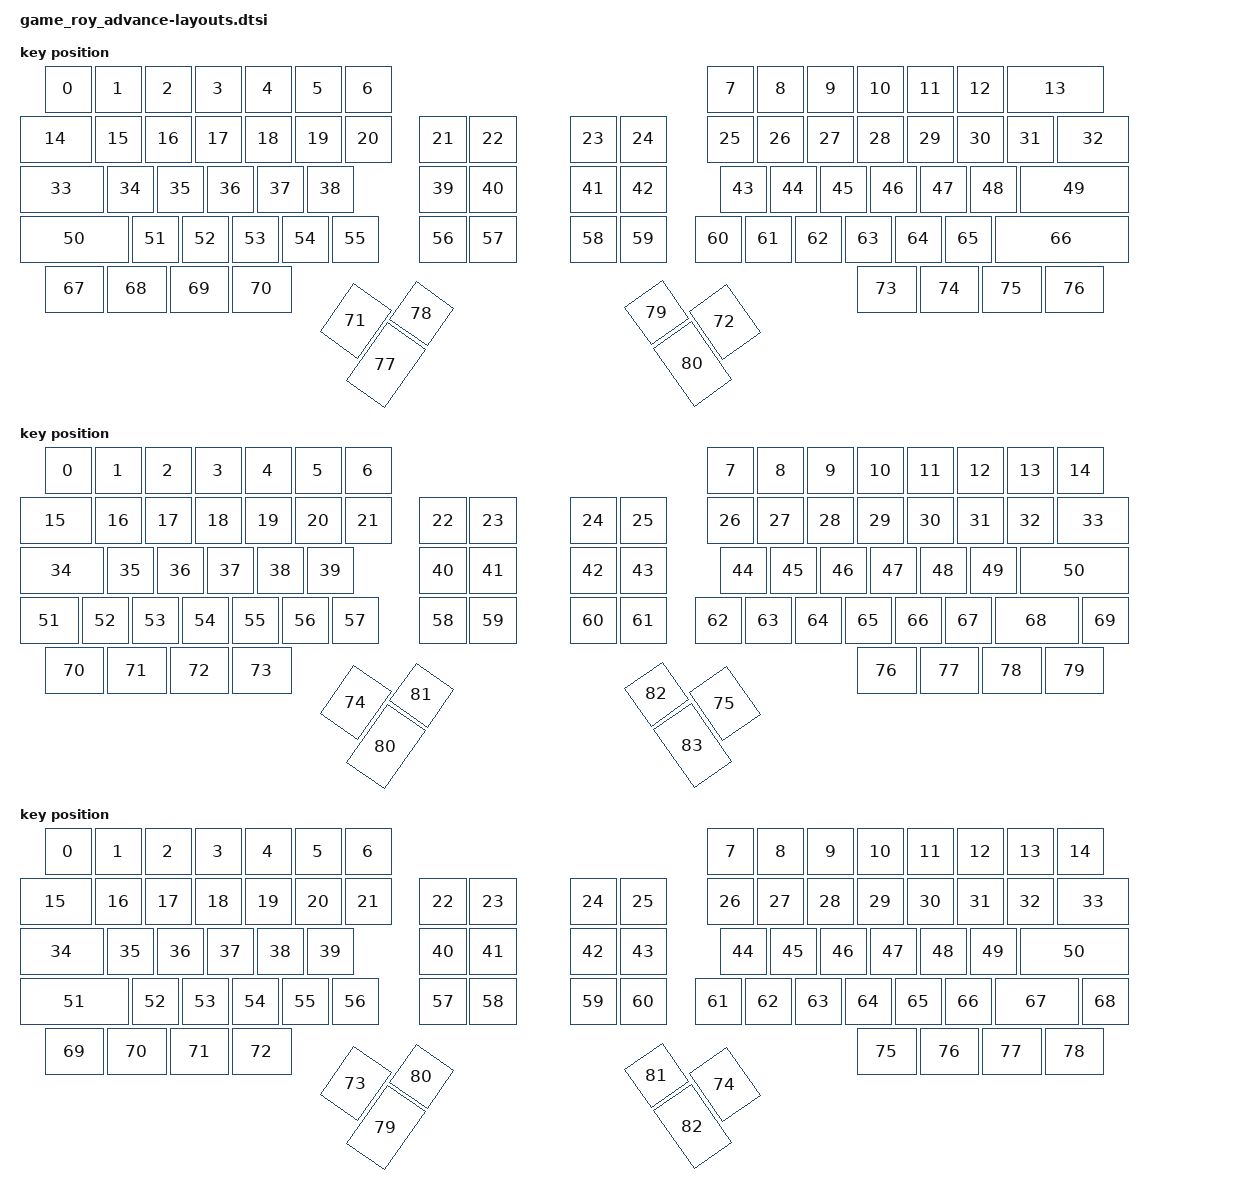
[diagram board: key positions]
#include <physical_layouts.dtsi>

/ {
    chosen {
        zmk,physical-layout = &default_layout;
    };

    default_layout: keymap_layout_0 {
        compatible = "zmk,physical-layout";
        display-name = "Game Roy ADVANCE Default";
        transform = <&default_transform>;
        kscan = <&kscan0>;
        keys  //                     w   h    x    y     rot    rx    ry
            = <&key_physical_attrs 100 100   50    0       0     0     0>
            , <&key_physical_attrs 100 100  150    0       0     0     0>
            , <&key_physical_attrs 100 100  250    0       0     0     0>
            , <&key_physical_attrs 100 100  350    0       0     0     0>
            , <&key_physical_attrs 100 100  450    0       0     0     0>
            , <&key_physical_attrs 100 100  550    0       0     0     0>
            , <&key_physical_attrs 100 100  650    0       0     0     0>
            , <&key_physical_attrs 100 100 1375    0       0     0     0>
            , <&key_physical_attrs 100 100 1475    0       0     0     0>
            , <&key_physical_attrs 100 100 1575    0       0     0     0>
            , <&key_physical_attrs 100 100 1675    0       0     0     0>
            , <&key_physical_attrs 100 100 1775    0       0     0     0>
            , <&key_physical_attrs 100 100 1875    0       0     0     0>
            , <&key_physical_attrs 200 100 1975    0       0     0     0>
            , <&key_physical_attrs 150 100    0  100       0     0     0>
            , <&key_physical_attrs 100 100  150  100       0     0     0>
            , <&key_physical_attrs 100 100  250  100       0     0     0>
            , <&key_physical_attrs 100 100  350  100       0     0     0>
            , <&key_physical_attrs 100 100  450  100       0     0     0>
            , <&key_physical_attrs 100 100  550  100       0     0     0>
            , <&key_physical_attrs 100 100  650  100       0     0     0>
            , <&key_physical_attrs 100 100  800  100       0     0     0>
            , <&key_physical_attrs 100 100  900  100       0     0     0>
            , <&key_physical_attrs 100 100 1100  100       0     0     0>
            , <&key_physical_attrs 100 100 1200  100       0     0     0>
            , <&key_physical_attrs 100 100 1375  100       0     0     0>
            , <&key_physical_attrs 100 100 1475  100       0     0     0>
            , <&key_physical_attrs 100 100 1575  100       0     0     0>
            , <&key_physical_attrs 100 100 1675  100       0     0     0>
            , <&key_physical_attrs 100 100 1775  100       0     0     0>
            , <&key_physical_attrs 100 100 1875  100       0     0     0>
            , <&key_physical_attrs 100 100 1975  100       0     0     0>
            , <&key_physical_attrs 150 100 2075  100       0     0     0>
            , <&key_physical_attrs 175 100    0  200       0     0     0>
            , <&key_physical_attrs 100 100  175  200       0     0     0>
            , <&key_physical_attrs 100 100  275  200       0     0     0>
            , <&key_physical_attrs 100 100  375  200       0     0     0>
            , <&key_physical_attrs 100 100  475  200       0     0     0>
            , <&key_physical_attrs 100 100  575  200       0     0     0>
            , <&key_physical_attrs 100 100  800  200       0     0     0>
            , <&key_physical_attrs 100 100  900  200       0     0     0>
            , <&key_physical_attrs 100 100 1100  200       0     0     0>
            , <&key_physical_attrs 100 100 1200  200       0     0     0>
            , <&key_physical_attrs 100 100 1400  200       0     0     0>
            , <&key_physical_attrs 100 100 1500  200       0     0     0>
            , <&key_physical_attrs 100 100 1600  200       0     0     0>
            , <&key_physical_attrs 100 100 1700  200       0     0     0>
            , <&key_physical_attrs 100 100 1800  200       0     0     0>
            , <&key_physical_attrs 100 100 1900  200       0     0     0>
            , <&key_physical_attrs 225 100 2000  200       0     0     0>
            , <&key_physical_attrs 225 100    0  300       0     0     0>
            , <&key_physical_attrs 100 100  225  300       0     0     0>
            , <&key_physical_attrs 100 100  325  300       0     0     0>
            , <&key_physical_attrs 100 100  425  300       0     0     0>
            , <&key_physical_attrs 100 100  525  300       0     0     0>
            , <&key_physical_attrs 100 100  625  300       0     0     0>
            , <&key_physical_attrs 100 100  800  300       0     0     0>
            , <&key_physical_attrs 100 100  900  300       0     0     0>
            , <&key_physical_attrs 100 100 1100  300       0     0     0>
            , <&key_physical_attrs 100 100 1200  300       0     0     0>
            , <&key_physical_attrs 100 100 1350  300       0     0     0>
            , <&key_physical_attrs 100 100 1450  300       0     0     0>
            , <&key_physical_attrs 100 100 1550  300       0     0     0>
            , <&key_physical_attrs 100 100 1650  300       0     0     0>
            , <&key_physical_attrs 100 100 1750  300       0     0     0>
            , <&key_physical_attrs 100 100 1850  300       0     0     0>
            , <&key_physical_attrs 275 100 1950  300       0     0     0>
            , <&key_physical_attrs 125 100   50  400       0     0     0>
            , <&key_physical_attrs 125 100  175  400       0     0     0>
            , <&key_physical_attrs 125 100  300  400       0     0     0>
            , <&key_physical_attrs 125 100  425  400       0     0     0>
            , <&key_physical_attrs 125 100  460  640 (-5500)   430   455>
            , <&key_physical_attrs 125 100 1440  395    5500  1390   395>
            , <&key_physical_attrs 125 100 1675  400       0     0     0>
            , <&key_physical_attrs 125 100 1800  400       0     0     0>
            , <&key_physical_attrs 125 100 1925  400       0     0     0>
            , <&key_physical_attrs 125 100 2050  400       0     0     0>
            , <&key_physical_attrs 150 100  410  740 (-5500)   430   455>
            , <&key_physical_attrs 100 100  560  740 (-5500)   430   455>
            , <&key_physical_attrs 100 100 1290  428    5500  1290   428>
            , <&key_physical_attrs 150 100 1390  428    5500  1290   428>
            ;
    };

 SplitBS_layout: keymap_layout_1 {
        compatible = "zmk,physical-layout";
        display-name = "Game Roy ADVANCE Split BS";
        transform = <&SplitBS_transform>;
        kscan = <&SplitBS_kscan0>;
        keys  //                     w   h    x    y     rot    rx    ry
            = <&key_physical_attrs 100 100   50    0       0     0     0>
            , <&key_physical_attrs 100 100  150    0       0     0     0>
            , <&key_physical_attrs 100 100  250    0       0     0     0>
            , <&key_physical_attrs 100 100  350    0       0     0     0>
            , <&key_physical_attrs 100 100  450    0       0     0     0>
            , <&key_physical_attrs 100 100  550    0       0     0     0>
            , <&key_physical_attrs 100 100  650    0       0     0     0>
            , <&key_physical_attrs 100 100 1375    0       0     0     0>
            , <&key_physical_attrs 100 100 1475    0       0     0     0>
            , <&key_physical_attrs 100 100 1575    0       0     0     0>
            , <&key_physical_attrs 100 100 1675    0       0     0     0>
            , <&key_physical_attrs 100 100 1775    0       0     0     0>
            , <&key_physical_attrs 100 100 1875    0       0     0     0>
            , <&key_physical_attrs 100 100 1975    0       0     0     0>
            , <&key_physical_attrs 100 100 2075    0       0     0     0>
            , <&key_physical_attrs 150 100    0  100       0     0     0>
            , <&key_physical_attrs 100 100  150  100       0     0     0>
            , <&key_physical_attrs 100 100  250  100       0     0     0>
            , <&key_physical_attrs 100 100  350  100       0     0     0>
            , <&key_physical_attrs 100 100  450  100       0     0     0>
            , <&key_physical_attrs 100 100  550  100       0     0     0>
            , <&key_physical_attrs 100 100  650  100       0     0     0>
            , <&key_physical_attrs 100 100  800  100       0     0     0>
            , <&key_physical_attrs 100 100  900  100       0     0     0>
            , <&key_physical_attrs 100 100 1100  100       0     0     0>
            , <&key_physical_attrs 100 100 1200  100       0     0     0>
            , <&key_physical_attrs 100 100 1375  100       0     0     0>
            , <&key_physical_attrs 100 100 1475  100       0     0     0>
            , <&key_physical_attrs 100 100 1575  100       0     0     0>
            , <&key_physical_attrs 100 100 1675  100       0     0     0>
            , <&key_physical_attrs 100 100 1775  100       0     0     0>
            , <&key_physical_attrs 100 100 1875  100       0     0     0>
            , <&key_physical_attrs 100 100 1975  100       0     0     0>
            , <&key_physical_attrs 150 100 2075  100       0     0     0>
            , <&key_physical_attrs 175 100    0  200       0     0     0>
            , <&key_physical_attrs 100 100  175  200       0     0     0>
            , <&key_physical_attrs 100 100  275  200       0     0     0>
            , <&key_physical_attrs 100 100  375  200       0     0     0>
            , <&key_physical_attrs 100 100  475  200       0     0     0>
            , <&key_physical_attrs 100 100  575  200       0     0     0>
            , <&key_physical_attrs 100 100  800  200       0     0     0>
            , <&key_physical_attrs 100 100  900  200       0     0     0>
            , <&key_physical_attrs 100 100 1100  200       0     0     0>
            , <&key_physical_attrs 100 100 1200  200       0     0     0>
            , <&key_physical_attrs 100 100 1400  200       0     0     0>
            , <&key_physical_attrs 100 100 1500  200       0     0     0>
            , <&key_physical_attrs 100 100 1600  200       0     0     0>
            , <&key_physical_attrs 100 100 1700  200       0     0     0>
            , <&key_physical_attrs 100 100 1800  200       0     0     0>
            , <&key_physical_attrs 100 100 1900  200       0     0     0>
            , <&key_physical_attrs 225 100 2000  200       0     0     0>
            , <&key_physical_attrs 125 100    0  300       0     0     0>
            , <&key_physical_attrs 100 100  125  300       0     0     0>
            , <&key_physical_attrs 100 100  225  300       0     0     0>
            , <&key_physical_attrs 100 100  325  300       0     0     0>
            , <&key_physical_attrs 100 100  425  300       0     0     0>
            , <&key_physical_attrs 100 100  525  300       0     0     0>
            , <&key_physical_attrs 100 100  625  300       0     0     0>
            , <&key_physical_attrs 100 100  800  300       0     0     0>
            , <&key_physical_attrs 100 100  900  300       0     0     0>
            , <&key_physical_attrs 100 100 1100  300       0     0     0>
            , <&key_physical_attrs 100 100 1200  300       0     0     0>
            , <&key_physical_attrs 100 100 1350  300       0     0     0>
            , <&key_physical_attrs 100 100 1450  300       0     0     0>
            , <&key_physical_attrs 100 100 1550  300       0     0     0>
            , <&key_physical_attrs 100 100 1650  300       0     0     0>
            , <&key_physical_attrs 100 100 1750  300       0     0     0>
            , <&key_physical_attrs 100 100 1850  300       0     0     0>
            , <&key_physical_attrs 175 100 1950  300       0     0     0>
            , <&key_physical_attrs 100 100 2125  300       0     0     0>
            , <&key_physical_attrs 125 100   50  400       0     0     0>
            , <&key_physical_attrs 125 100  175  400       0     0     0>
            , <&key_physical_attrs 125 100  300  400       0     0     0>
            , <&key_physical_attrs 125 100  425  400       0     0     0>
            , <&key_physical_attrs 125 100  460  640 (-5500)   430   455>
            , <&key_physical_attrs 125 100 1440  395    5500  1390   395>
            , <&key_physical_attrs 125 100 1675  400       0     0     0>
            , <&key_physical_attrs 125 100 1800  400       0     0     0>
            , <&key_physical_attrs 125 100 1925  400       0     0     0>
            , <&key_physical_attrs 125 100 2050  400       0     0     0>
            , <&key_physical_attrs 150 100  410  740 (-5500)   430   455>
            , <&key_physical_attrs 100 100  560  740 (-5500)   430   455>
            , <&key_physical_attrs 100 100 1290  428    5500  1290   428>
            , <&key_physical_attrs 150 100 1390  428    5500  1290   428>
            ;
    };

     Outtatim_layout: keymap_layout_2 {
        compatible = "zmk,physical-layout";
        display-name = "Game Roy ADVANCE Outtatim";
        transform = <&SplitBS_transform>;
        kscan = <&SplitBS_kscan0>;
        keys  //                     w   h    x    y     rot    rx    ry
            = <&key_physical_attrs 100 100   50    0       0     0     0>
            , <&key_physical_attrs 100 100  150    0       0     0     0>
            , <&key_physical_attrs 100 100  250    0       0     0     0>
            , <&key_physical_attrs 100 100  350    0       0     0     0>
            , <&key_physical_attrs 100 100  450    0       0     0     0>
            , <&key_physical_attrs 100 100  550    0       0     0     0>
            , <&key_physical_attrs 100 100  650    0       0     0     0>
            , <&key_physical_attrs 100 100 1375    0       0     0     0>
            , <&key_physical_attrs 100 100 1475    0       0     0     0>
            , <&key_physical_attrs 100 100 1575    0       0     0     0>
            , <&key_physical_attrs 100 100 1675    0       0     0     0>
            , <&key_physical_attrs 100 100 1775    0       0     0     0>
            , <&key_physical_attrs 100 100 1875    0       0     0     0>
            , <&key_physical_attrs 100 100 1975    0       0     0     0>
            , <&key_physical_attrs 100 100 2075    0       0     0     0>
            , <&key_physical_attrs 150 100    0  100       0     0     0>
            , <&key_physical_attrs 100 100  150  100       0     0     0>
            , <&key_physical_attrs 100 100  250  100       0     0     0>
            , <&key_physical_attrs 100 100  350  100       0     0     0>
            , <&key_physical_attrs 100 100  450  100       0     0     0>
            , <&key_physical_attrs 100 100  550  100       0     0     0>
            , <&key_physical_attrs 100 100  650  100       0     0     0>
            , <&key_physical_attrs 100 100  800  100       0     0     0>
            , <&key_physical_attrs 100 100  900  100       0     0     0>
            , <&key_physical_attrs 100 100 1100  100       0     0     0>
            , <&key_physical_attrs 100 100 1200  100       0     0     0>
            , <&key_physical_attrs 100 100 1375  100       0     0     0>
            , <&key_physical_attrs 100 100 1475  100       0     0     0>
            , <&key_physical_attrs 100 100 1575  100       0     0     0>
            , <&key_physical_attrs 100 100 1675  100       0     0     0>
            , <&key_physical_attrs 100 100 1775  100       0     0     0>
            , <&key_physical_attrs 100 100 1875  100       0     0     0>
            , <&key_physical_attrs 100 100 1975  100       0     0     0>
            , <&key_physical_attrs 150 100 2075  100       0     0     0>
            , <&key_physical_attrs 175 100    0  200       0     0     0>
            , <&key_physical_attrs 100 100  175  200       0     0     0>
            , <&key_physical_attrs 100 100  275  200       0     0     0>
            , <&key_physical_attrs 100 100  375  200       0     0     0>
            , <&key_physical_attrs 100 100  475  200       0     0     0>
            , <&key_physical_attrs 100 100  575  200       0     0     0>
            , <&key_physical_attrs 100 100  800  200       0     0     0>
            , <&key_physical_attrs 100 100  900  200       0     0     0>
            , <&key_physical_attrs 100 100 1100  200       0     0     0>
            , <&key_physical_attrs 100 100 1200  200       0     0     0>
            , <&key_physical_attrs 100 100 1400  200       0     0     0>
            , <&key_physical_attrs 100 100 1500  200       0     0     0>
            , <&key_physical_attrs 100 100 1600  200       0     0     0>
            , <&key_physical_attrs 100 100 1700  200       0     0     0>
            , <&key_physical_attrs 100 100 1800  200       0     0     0>
            , <&key_physical_attrs 100 100 1900  200       0     0     0>
            , <&key_physical_attrs 225 100 2000  200       0     0     0>
            , <&key_physical_attrs 225 100    0  300       0     0     0>
            , <&key_physical_attrs 100 100  225  300       0     0     0>
            , <&key_physical_attrs 100 100  325  300       0     0     0>
            , <&key_physical_attrs 100 100  425  300       0     0     0>
            , <&key_physical_attrs 100 100  525  300       0     0     0>
            , <&key_physical_attrs 100 100  625  300       0     0     0>
            , <&key_physical_attrs 100 100  800  300       0     0     0>
            , <&key_physical_attrs 100 100  900  300       0     0     0>
            , <&key_physical_attrs 100 100 1100  300       0     0     0>
            , <&key_physical_attrs 100 100 1200  300       0     0     0>
            , <&key_physical_attrs 100 100 1350  300       0     0     0>
            , <&key_physical_attrs 100 100 1450  300       0     0     0>
            , <&key_physical_attrs 100 100 1550  300       0     0     0>
            , <&key_physical_attrs 100 100 1650  300       0     0     0>
            , <&key_physical_attrs 100 100 1750  300       0     0     0>
            , <&key_physical_attrs 100 100 1850  300       0     0     0>
            , <&key_physical_attrs 175 100 1950  300       0     0     0>
            , <&key_physical_attrs 100 100 2125  300       0     0     0>
            , <&key_physical_attrs 125 100   50  400       0     0     0>
            , <&key_physical_attrs 125 100  175  400       0     0     0>
            , <&key_physical_attrs 125 100  300  400       0     0     0>
            , <&key_physical_attrs 125 100  425  400       0     0     0>
            , <&key_physical_attrs 125 100  460  640 (-5500)   430   455>
            , <&key_physical_attrs 125 100 1440  395    5500  1390   395>
            , <&key_physical_attrs 125 100 1675  400       0     0     0>
            , <&key_physical_attrs 125 100 1800  400       0     0     0>
            , <&key_physical_attrs 125 100 1925  400       0     0     0>
            , <&key_physical_attrs 125 100 2050  400       0     0     0>
            , <&key_physical_attrs 150 100  410  740 (-5500)   430   455>
            , <&key_physical_attrs 100 100  560  740 (-5500)   430   455>
            , <&key_physical_attrs 100 100 1290  428    5500  1290   428>
            , <&key_physical_attrs 150 100 1390  428    5500  1290   428>
            ;
    };
};

/ {
    game_roy_advance_position_map1 {
        compatible = "zmk,physical-layout-position-map";
        complete;

        default_map: default {
            physical-layout = <&default_layout>;
            positions
                = < 13 84 50 85 66 86 >;

        };

        SplitBS_map: SplitBS {
            physical-layout = <&SplitBS_layout>;
            positions
                = < 13 14 51 52 68 69 >;
        };

        Outtatim_map: Outtatim {
            physical-layout = <&Outtatim_layout>;
            positions
                = < 13 14 50 85 67 68 >;
        };
    };
};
